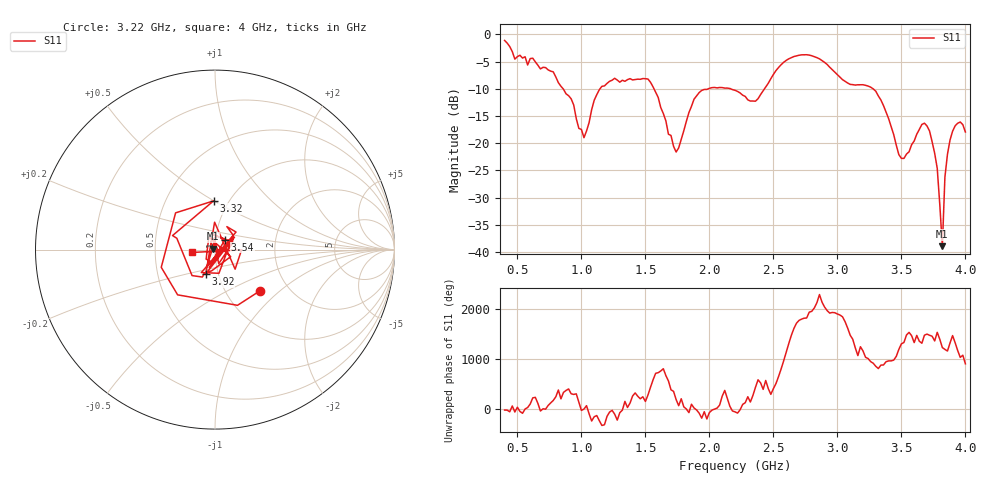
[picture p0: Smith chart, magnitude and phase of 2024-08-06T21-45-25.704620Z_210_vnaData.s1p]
!Created with skrf (http://scikit-rf.org).
# Hz S RI R 50.0
!freq ReS11 ImS11
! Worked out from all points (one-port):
!   181 points, 400 MHz to 4 GHz, reference 50 ohm
!   lowest |S11| = -38.9 dB at 3.82 GHz (marker M1), VSWR 1.02, Z = 49 + j0.514 ohm
!   |S11| at or under -10 dB: 856.9 MHz to 1.146 GHz (288.6 MHz wide, 28.8 % of centre); 1.567 GHz to 1.992 GHz (425.3 MHz wide, 23.9 % of centre); 3.278 GHz to end of sweep (the widest 3 of 4)
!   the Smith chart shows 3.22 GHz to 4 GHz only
!   S11 on the Smith chart (normalised r, x): 3.22 GHz: 1.44, -0.75; 3.32 GHz: 0.85, +0.50; 3.54 GHz: 1.11, +0.13; 3.92 GHz: 0.87, -0.24; 4 GHz: 0.78, -0.03
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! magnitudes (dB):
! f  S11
! 400 MHz  -1.1
! 480 MHz  -4.6
! 620 MHz  -4.4
! 860 MHz  -10.1
! 1.02 GHz  -19.0
! 1.14 GHz  -10.2
! 1.3 GHz  -8.8
! 1.52 GHz  -8.2
! 1.76 GHz  -20.9
! 1.92 GHz  -10.7
! 2.2 GHz  -10.3
! 2.36 GHz  -12.3
! 2.66 GHz  -4.1
! 2.86 GHz  -4.5
! 3.1 GHz  -9.2
! 3.22 GHz  -9.4
! 3.32 GHz  -11.3
! 3.48 GHz  -22.1
! 3.54 GHz  -22.0
! 3.56 GHz  -21.6
! 3.66 GHz  -16.6
! 3.72 GHz  -17.8
! 3.78 GHz  -24.6
! 3.82 GHz  -38.9
! 3.84 GHz  -26.2
! 3.88 GHz  -19.4
! 3.92 GHz  -16.8
! 4 GHz  -17.9
